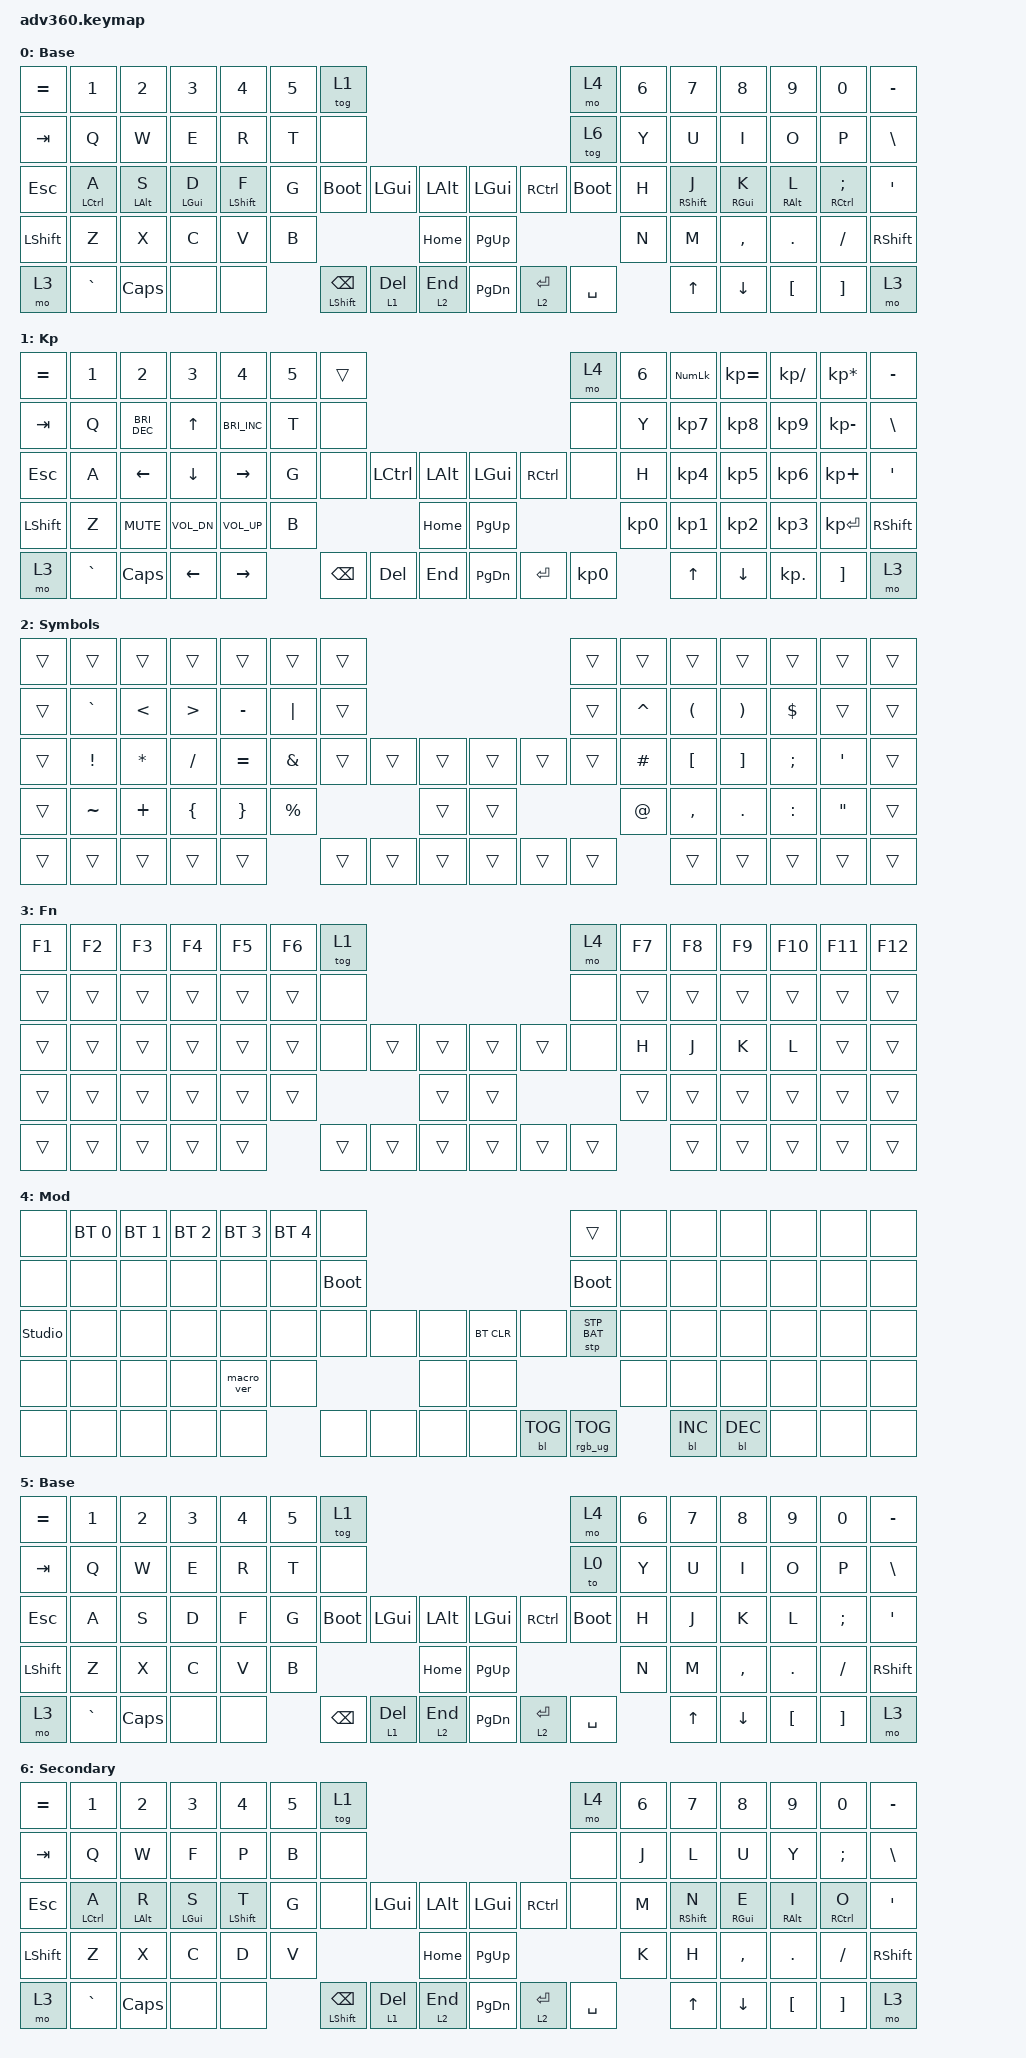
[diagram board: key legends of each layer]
#include <dt-bindings/zmk/stp.h>
#include <behaviors.dtsi>
#include <dt-bindings/zmk/backlight.h>
#include <dt-bindings/zmk/bt.h>
#include <dt-bindings/zmk/keys.h>
#include <dt-bindings/zmk/rgb.h>

&lt { quick-tap-ms = <199>; };

/ {
    behaviors {
        #include "macros.dtsi"
      #include "version.dtsi"

        hm: homerow_mods {
            compatible = "zmk,behavior-hold-tap";
            label = "HOMEROW_MODS";
            #binding-cells = <2>;
            tapping-term-ms = <280>;
            require-prior-idle-ms = <220>;
            flavor = "balanced";
            bindings = <&kp>, <&kp>;

            quick-tap-ms = <270>;
        };

        parenthesis_less_than: parenthesis_less_than {
            compatible = "zmk,behavior-mod-morph";
            label = "PARENTHESIS_LESS_THAN";
            bindings = <&kp LEFT_PARENTHESIS>, <&kp LESS_THAN>;

            #binding-cells = <0>;
            mods = <(MOD_LSFT|MOD_RSFT)>;
        };

        parenthsis_greater_than: parenthsis_greater_than {
            compatible = "zmk,behavior-mod-morph";
            label = "PARENTHSIS_GREATER_THAN";
            bindings = <&kp RIGHT_PARENTHESIS>, <&kp GREATER_THAN>;

            #binding-cells = <0>;
            mods = <(MOD_LSFT|MOD_RSFT)>;
        };

        layer_tap_typing: layer_tap_typing {
            compatible = "zmk,behavior-hold-tap";
            label = "LAYER_TAP_TYPING";
            bindings = <&lt>, <&kp>;

            #binding-cells = <2>;
            tapping-term-ms = <280>;
            quick-tap-ms = <170>;
            require-prior-idle-ms = <150>;
            flavor = "balanced";
        };

        hm_left: hm_left {
            compatible = "zmk,behavior-hold-tap";
            label = "HM_LEFT";
            #binding-cells = <2>;
            tapping-term-ms = <280>;
            require-prior-idle-ms = <200>;
            flavor = "balanced";
            bindings = <&kp>, <&kp>;

            quick-tap-ms = <270>;
            hold-trigger-on-release;
            hold-trigger-key-positions = <7 8 9 10 11 12 13 21 22 23 24 25 26 27 37 38 39 40 41 42 43 44 45 53 54 55 56 57 58 59 68 69 70 71 72 73 74 75 35 36 52 65 66 67>;
        };

        hw_right: hw_right {
            compatible = "zmk,behavior-hold-tap";
            label = "HW_RIGHT";
            #binding-cells = <2>;
            tapping-term-ms = <280>;
            require-prior-idle-ms = <200>;
            flavor = "balanced";
            bindings = <&kp>, <&kp>;

            quick-tap-ms = <270>;
            hold-trigger-on-release;
            hold-trigger-key-positions = <37 38 53 68 69 70 35 36 52 65 66 67 0 1 2 3 4 5 6 14 15 16 17 18 19 20 28 29 30 31 32 33 34 35 36 46 47 48 49 50 51 52 60 61 62 63 64 65 66>;
        };

        hm_shift: hm_shift {
            compatible = "zmk,behavior-hold-tap";
            label = "HM_SHIFT";
            #binding-cells = <2>;
            tapping-term-ms = <240>;
            require-prior-idle-ms = <200>;
            flavor = "balanced";
            bindings = <&kp>, <&kp>;

            quick-tap-ms = <270>;
        };
    };

    combos {
        compatible = "zmk,combos";

        LH-esc {
            bindings = <&kp ESCAPE>;
            key-positions = <30 31>;
        };

        rh-tab {
            bindings = <&kp TAB>;
            key-positions = <30 29>;
        };

        backspace-combo {
            bindings = <&kp BACKSPACE>;
            key-positions = <24 23>;
            require-prior-idle-ms = <130>;
        };

        forward-slash-rh {
            bindings = <&kp SLASH>;
            key-positions = <42 56>;
        };

        hr-r-bracket {
            bindings = <&kp RIGHT_BRACKET>;
            key-positions = <43 42>;
        };

        hr-l-bracket {
            bindings = <&kp LEFT_BRACKET>;
            key-positions = <41 42>;
            require-prior-idle-ms = <130>;
        };

        l-parenthesis {
            bindings = <&kp LEFT_PARENTHESIS>;
            key-positions = <55 56>;
        };

        r-parenthesis {
            bindings = <&kp RIGHT_PARENTHESIS>;
            key-positions = <56 57>;
        };

        mod-parenthesis-lessthan {
            bindings = <&parenthesis_less_than>;
            key-positions = <55 56>;
        };

        parenthesis-greater-than {
            bindings = <&parenthsis_greater_than>;
            key-positions = <56 57>;
        };

        copy {
            bindings = <&kp LG(C)>;
            key-positions = <48 49>;
        };

        paste {
            bindings = <&kp LG(V)>;
            key-positions = <50 49>;
        };

        plus {
            bindings = <&kp PLUS>;
            key-positions = <23 41>;
        };

        minus {
            bindings = <&kp MINUS>;
            key-positions = <41 55>;
        };

        asterisk {
            bindings = <&kp ASTERISK>;
            key-positions = <42 24>;
        };

        caret {
            bindings = <&kp CARET>;
            key-positions = <32 50>;
        };

        at-sign {
            bindings = <&kp AT_SIGN>;
            key-positions = <16 30>;
        };

        backtick {
            bindings = <&kp GRAVE>;
            key-positions = <17 31>;
        };

        equals {
            bindings = <&kp EQUAL>;
            key-positions = <22 40>;
        };

        del {
            bindings = <&kp DELETE>;
            key-positions = <25 24>;
            require-prior-idle-ms = <130>;
        };

        percent {
            bindings = <&kp PERCENT>;
            key-positions = <19 33>;
        };

        dollar {
            bindings = <&kp DOLLAR>;
            key-positions = <18 32>;
        };

        hashtag {
            bindings = <&kp HASH>;
            key-positions = <30 48>;
        };

        ampersand {
            bindings = <&kp AMPERSAND>;
            key-positions = <25 43>;
        };

        pipe {
            bindings = <&kp PIPE>;
            key-positions = <43 57>;
        };

        enter {
            bindings = <&kp RETURN>;
            key-positions = <43 41>;
        };

        exclamation {
            bindings = <&kp EXCLAMATION>;
            key-positions = <26 44>;
        };

        quote {
            bindings = <&kp SINGLE_QUOTE>;
            key-positions = <43 44>;
        };

        enter-lh {
            bindings = <&kp RETURN>;
            key-positions = <32 31>;
        };

        spotlight {
            bindings = <&kp LG(SPACE)>;
            key-positions = <65 70>;
        };

        tilde {
            bindings = <&kp TILDE>;
            key-positions = <33 51>;
        };

        space-leader {
            bindings = <&kp SPACE>;
            key-positions = <32 30>;
        };

        backslash {
            bindings = <&kp BACKSLASH>;
            key-positions = <31 49>;
        };

        underscore {
            bindings = <&kp UNDERSCORE>;
            key-positions = <40 54>;
        };

        cut {
            bindings = <&kp LG(X)>;
            key-positions = <48 50>;
        };
    };

    keymap {
        compatible = "zmk,keymap";

        default_layer {
            display-name = "Base";
            bindings = <
&kp EQUAL  &kp N1            &kp N2               &kp N3               &kp N4                  &kp N5  &tog 1                                                                       &mo 4        &kp N6  &kp N7                   &kp N8                 &kp N9                 &kp N0                     &kp MINUS
&kp TAB    &kp Q             &kp W                &kp E                &kp R                   &kp T   &none                                                                        &tog 6       &kp Y   &kp U                    &kp I                  &kp O                  &kp P                      &kp BSLH
&kp ESC    &hm_left LCTRL A  &hm_left LEFT_ALT S  &hm_left LEFT_GUI D  &hm_shift LEFT_SHIFT F  &kp G   &bootloader               &kp LEFT_GUI  &kp LALT       &kp LGUI   &kp RCTRL  &bootloader  &kp H   &hm_shift RIGHT_SHIFT J  &hw_right RIGHT_GUI K  &hw_right RIGHT_ALT L  &hw_right RCTRL SEMICOLON  &kp SQT
&kp LSHFT  &kp Z             &kp X                &kp C                &kp V                   &kp B                                           &kp HOME       &kp PG_UP                          &kp N   &kp M                    &kp COMMA              &kp DOT                &kp FSLH                   &kp RSHFT
&mo 3      &kp GRAVE         &kp CAPS             &none                &none                           &mt LEFT_SHIFT BACKSPACE  &lt 1 DEL     &lt 2 END      &kp PG_DN  &lt 2 RET  &kp SPACE            &kp UP                   &kp DOWN               &kp LBKT               &kp RBKT                   &mo 3
            >;
        };

        keypad {
            display-name = "Kp";
            bindings = <
&kp EQUAL  &kp N1     &kp N2                &kp N3          &kp N4                &kp N5  &trans                                                   &mo 4      &kp N6           &kp KP_NUM  &kp KP_EQUAL  &kp KP_DIVIDE  &kp KP_MULTIPLY  &kp MINUS
&kp TAB    &kp Q      &kp C_BRIGHTNESS_DEC  &kp UP_ARROW    &kp C_BRIGHTNESS_INC  &kp T   &none                                                    &none      &kp Y            &kp KP_N7   &kp KP_N8     &kp KP_N9      &kp KP_MINUS     &kp BSLH
&kp ESC    &kp A      &kp LEFT_ARROW        &kp DOWN_ARROW  &kp RIGHT_ARROW       &kp G   &none     &kp LCTRL  &kp LALT      &kp LGUI   &kp RCTRL  &none      &kp H            &kp KP_N4   &kp KP_N5     &kp KP_N6      &kp KP_PLUS      &kp SQT
&kp LSHFT  &kp Z      &kp C_MUTE            &kp C_VOL_DN    &kp C_VOLUME_UP       &kp B                        &kp HOME      &kp PG_UP                        &kp KP_NUMBER_0  &kp KP_N1   &kp KP_N2     &kp KP_N3      &kp KP_ENTER     &kp RSHFT
&mo 3      &kp GRAVE  &kp CAPS              &kp LEFT        &kp RIGHT                     &kp BSPC  &kp DEL    &kp END       &kp PG_DN  &kp ENTER  &kp KP_N0                   &kp UP      &kp DOWN      &kp KP_DOT     &kp RBKT         &mo 3
            >;
        };

        Symbols {
            bindings = <
&trans  &trans           &trans         &trans            &trans           &trans         &trans                                      &trans  &trans       &trans                &trans                 &trans         &trans             &trans
&trans  &kp GRAVE        &kp LESS_THAN  &kp GREATER_THAN  &kp MINUS        &kp PIPE       &trans                                      &trans  &kp CARET    &kp LEFT_PARENTHESIS  &kp RIGHT_PARENTHESIS  &kp DOLLAR     &trans             &trans
&trans  &kp EXCLAMATION  &kp ASTERISK   &kp SLASH         &kp EQUAL        &kp AMPERSAND  &trans  &trans  &trans      &trans  &trans  &trans  &kp HASH     &kp LEFT_BRACKET      &kp RIGHT_BRACKET      &kp SEMICOLON  &kp SQT            &trans
&trans  &kp TILDE        &kp PLUS       &kp LEFT_BRACE    &kp RIGHT_BRACE  &kp PERCENT                    &trans      &trans                  &kp AT_SIGN  &kp COMMA             &kp PERIOD             &kp COLON      &kp DOUBLE_QUOTES  &trans
&trans  &trans           &trans         &trans            &trans                          &trans  &trans  &trans      &trans  &trans  &trans               &trans                &trans                 &trans         &trans             &trans
            >;
        };

        fn-vim {
            display-name = "Fn";
            bindings = <
&kp F1  &kp F2  &kp F3  &kp F4  &kp F5  &kp F6  &tog 1                                      &mo 4   &kp F7  &kp F8  &kp F9  &kp F10  &kp F11  &kp F12
&trans  &trans  &trans  &trans  &trans  &trans  &none                                       &none   &trans  &trans  &trans  &trans   &trans   &trans
&trans  &trans  &trans  &trans  &trans  &trans  &none   &trans  &trans      &trans  &trans  &none   &kp H   &kp J   &kp K   &kp L    &trans   &trans
&trans  &trans  &trans  &trans  &trans  &trans                  &trans      &trans                  &trans  &trans  &trans  &trans   &trans   &trans
&trans  &trans  &trans  &trans  &trans          &trans  &trans  &trans      &trans  &trans  &trans          &trans  &trans  &trans   &trans   &trans
            >;
        };

        mod {
            display-name = "Mod";
            bindings = <
&none           &bt BT_SEL 0  &bt BT_SEL 1  &bt BT_SEL 2  &bt BT_SEL 3  &bt BT_SEL 4  &none                                                  &trans           &none  &none       &none       &none  &none  &none
&none           &none         &none         &none         &none         &none         &bootloader                                            &bootloader      &none  &none       &none       &none  &none  &none
&studio_unlock  &none         &none         &none         &none         &none         &none        &none  &none      &bt BT_CLR  &none       &stp STP_BAT     &none  &none       &none       &none  &none  &none
&none           &none         &none         &none         &macro_ver    &none                             &none      &none                                    &none  &none       &none       &none  &none  &none
&none           &none         &none         &none         &none                       &none        &none  &none      &none       &bl BL_TOG  &rgb_ug RGB_TOG         &bl BL_INC  &bl BL_DEC  &none  &none  &none
            >;
        };

        qwerty_no_mods {
            display-name = "Base";
            bindings = <
&kp EQUAL  &kp N1     &kp N2    &kp N3  &kp N4  &kp N5  &tog 1                                                            &mo 4        &kp N6  &kp N7  &kp N8     &kp N9    &kp N0         &kp MINUS
&kp TAB    &kp Q      &kp W     &kp E   &kp R   &kp T   &none                                                             &to 0        &kp Y   &kp U   &kp I      &kp O     &kp P          &kp BSLH
&kp ESC    &kp A      &kp S     &kp D   &kp F   &kp G   &bootloader    &kp LEFT_GUI  &kp LALT       &kp LGUI   &kp RCTRL  &bootloader  &kp H   &kp J   &kp K      &kp L     &kp SEMICOLON  &kp SQT
&kp LSHFT  &kp Z      &kp X     &kp C   &kp V   &kp B                                &kp HOME       &kp PG_UP                          &kp N   &kp M   &kp COMMA  &kp DOT   &kp FSLH       &kp RSHFT
&mo 3      &kp GRAVE  &kp CAPS  &none   &none           &kp BACKSPACE  &lt 1 DEL     &lt 2 END      &kp PG_DN  &lt 2 RET  &kp SPACE            &kp UP  &kp DOWN   &kp LBKT  &kp RBKT       &mo 3
            >;
        };

        colemak_dh {
            display-name = "Secondary";
            bindings = <
&kp EQUAL  &kp N1       &kp N2          &kp N3          &kp N4            &kp N5  &tog 1                                                                       &mo 4      &kp N6  &kp N7             &kp N8           &kp N9           &kp N0       &kp MINUS
&kp TAB    &kp Q        &kp W           &kp F           &kp P             &kp B   &none                                                                        &none      &kp J   &kp L              &kp U            &kp Y            &kp SEMI     &kp BSLH
&kp ESC    &hm LCTRL A  &hm LEFT_ALT R  &hm LEFT_GUI S  &hm LEFT_SHIFT T  &kp G   &none                     &kp LEFT_GUI  &kp LALT       &kp LGUI   &kp RCTRL  &none      &kp M   &hm RIGHT_SHIFT N  &hm RIGHT_GUI E  &hm RIGHT_ALT I  &hm RCTRL O  &kp SQT
&kp LSHFT  &kp Z        &kp X           &kp C           &kp D             &kp V                                           &kp HOME       &kp PG_UP                        &kp K   &kp H              &kp COMMA        &kp DOT          &kp FSLH     &kp RSHFT
&mo 3      &kp GRAVE    &kp CAPS        &none           &none                     &mt LEFT_SHIFT BACKSPACE  &lt 1 DEL     &lt 2 END      &kp PG_DN  &lt 2 RET  &kp SPACE          &kp UP             &kp DOWN         &kp LBKT         &kp RBKT     &mo 3
            >;
        };
    };
};
